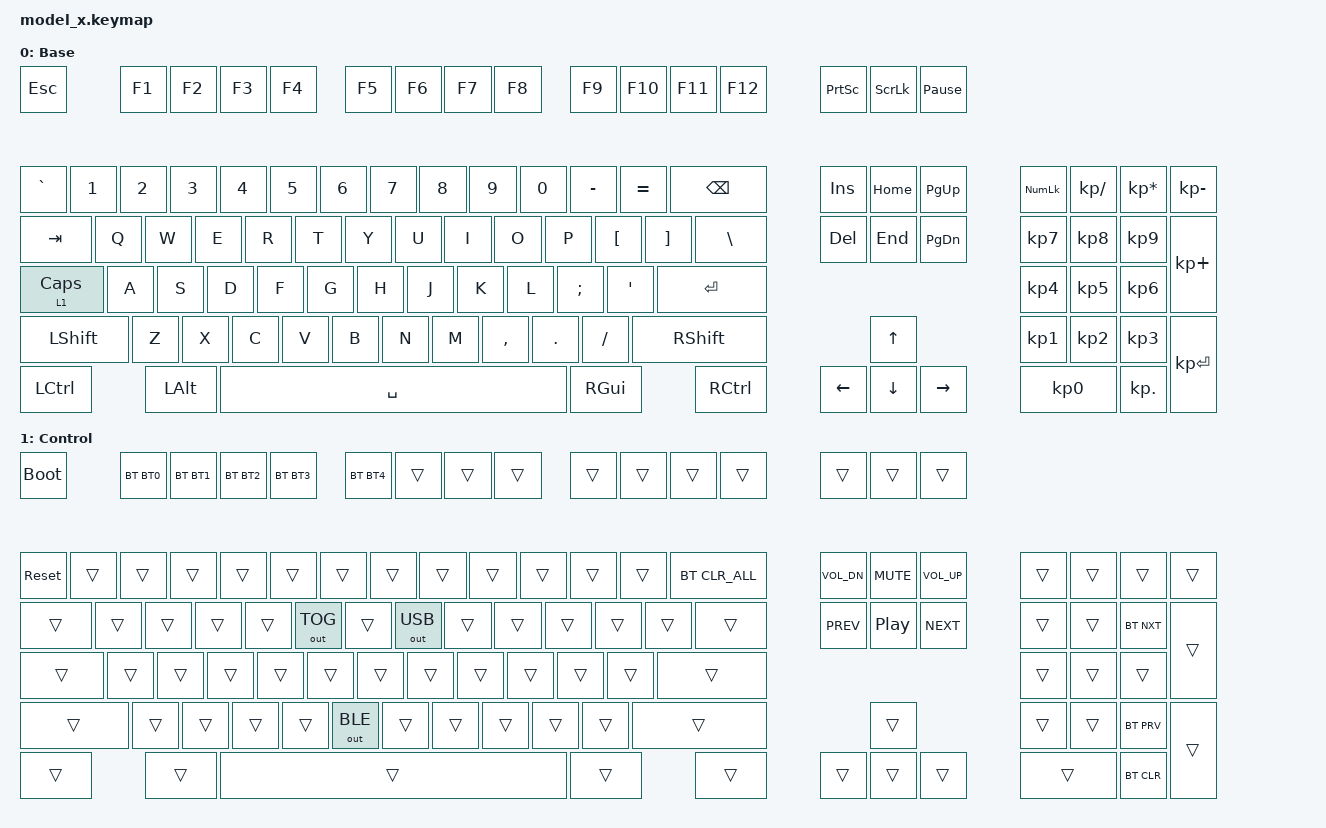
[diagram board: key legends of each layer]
/*
 * Copyright (c) 2020 The ZMK Contributors
 *
 * SPDX-License-Identifier: MIT
 */

#include <behaviors.dtsi>
#include <dt-bindings/zmk/keys.h>
#include <dt-bindings/zmk/bt.h>
#include <dt-bindings/zmk/outputs.h>
#include <dt-bindings/zmk/ext_power.h>


#define BT0 BT_SEL 0
#define BT1 BT_SEL 1
#define BT2 BT_SEL 2
#define BT3 BT_SEL 3
#define BT4 BT_SEL 4

#define O_BLE OUT_BLE
#define O_USB OUT_USB
#define O_TOG OUT_TOG

#define VOL_DN C_VOL_DN
#define VOL_UP C_VOL_UP


/ {
    keymap {
        compatible = "zmk,keymap";

        default_layer {
            display-name = "Base";
            bindings = <
//╭──────────╮          ╭──────────┬──────────┬──────────┬──────────╮    ╭──────────┬──────────┬──────────┬──────────╮    ╭──────────┬──────────┬──────────┬──────────╮    ╭──────────┬──────────┬──────────╮
//│ ESC      │          │ F1       │ F2       │ F3       │ F4       |    │ F5       │ F6       │ F7       │ F8       |    │ F9       │ F10      │ F11      │ F12      │    │ Pr.Screen│ Scr.Lock │ Pause    |
    &kp ESC               &kp F1     &kp F2     &kp F3     &kp F4          &kp F5     &kp F6     &kp F7     &kp F8          &kp F9     &kp F10    &kp F11    &kp F12         &kp PSCRN  &kp SLCK   &kp PAUSE_BREAK
//╰──────────╯          ╰──────────┴──────────┴──────────┴──────────╯    ╰──────────┴──────────┴──────────┴──────────╯    ╰──────────┴──────────┴──────────┴──────────╯    ╰──────────┴──────────┴──────────╯
//
//╭──────────┬──────────┬──────────┬──────────┬──────────┬──────────┬──────────┬──────────┬──────────┬──────────┬──────────┬──────────┬──────────┬────────────────────╮    ╭──────────┬──────────┬──────────╮    ╭──────────┬──────────┬──────────┬──────────╮
//│ `        │ 1        │ 2        │ 3        │ 4        │ 5        │ 6        │ 7        │ 8        │ 9        │ 10       │ -        │ =        │ Backspace          │    │ Insert   │ Home     │ Page Up  │    │ Num Lock │ /        │ *        │ -        │
    &kp GRAVE  &kp N1     &kp N2     &kp N3     &kp N4     &kp N5     &kp N6     &kp N7     &kp N8     &kp N9     &kp N0     &kp MINUS  &kp EQUAL  &kp BSPC                  &kp INS    &kp HOME   &kp PG_UP      &kp KP_NUM &kp KP_SLASH &kp KP_MULTIPLY &kp KP_MINUS
//├──────────┴─────┬────┴─────┬────┴─────┬────┴─────┬────┴─────┬────┴─────┬────┴─────┬────┴─────┬────┴─────┬────┴─────┬────┴─────┬────┴─────┬────┴─────┬──────────────┤    ├──────────┼──────────┼──────────┤    ├──────────┼──────────┼──────────┼──────────┤
//| Tab            | Q        | W        | E        | R        | T        | Y        | U        | I        | O        | P        | [        | ]        | \            |    | Delete   | End      | Page Down|    | 7        | 8        | 9        | +        |
    &kp TAB          &kp Q      &kp W      &kp E      &kp R      &kp T      &kp Y      &kp U      &kp I      &kp O      &kp P      &kp LBKT   &kp RBKT   &kp BSLH            &kp DEL    &kp END    &kp PG_DN       &kp KP_N7  &kp KP_N8  &kp KP_N9  &kp KP_PLUS
//├─────────────┬──┴───┬──────┴───┬──────┴───┬──────┴───┬──────┴───┬──────┴───┬──────┴───┬──────┴───┬──────┴───┬──────┴───┬──────┴───┬──────┴───┬──────┴──────────────┤    ╰──────────┴──────────┴──────────╯    ├──────────┼──────────┼──────────┤          |
//| Caps Lock   |      | A        | S        | D        | F        | G        | H        | J        | K        | L        | ;        | '        | Enter               |                                          | 4        | 5        | 6        |          |
    &lt 1 CLCK           &kp A      &kp S      &kp D      &kp F      &kp G      &kp H      &kp J      &kp K      &kp L      &kp SEMI   &kp SQT    &kp ENTER                                                        &kp KP_N4  &kp KP_N5  &kp KP_N6
//├─────────────┴──────┴─────┬────┴─────┬────┴─────┬────┴─────┬────┴─────┬────┴─────┬────┴─────┬────┴─────┬────┴─────┬────┴─────┬────┴─────┬────┴─────────────────────┤               ╭──────────╮               ├──────────┼──────────┼──────────┼──────────┤
//| Shift                    | Z        | X        | C        | V        | B        | N        | M        | ,        | .        | /        | Shift                    |               | Up       |               | 1        | 2        | 3        | Enter    |
    &kp LSHFT                  &kp Z      &kp X      &kp C      &kp V      &kp B      &kp N      &kp M      &kp COMMA  &kp DOT    &kp FSLH   &kp RSHFT                                  &kp UP                     &kp KP_N1  &kp KP_N2  &kp KP_N3  &kp KP_ENTER
//├──────────────┬───────────┴──┬──────────────┬───┴──────────┴──────────┴──────────┴──────────┴──────────┴──────────┴───┬──────┴───────┬──┴───────────┬──────────────┤    ╭──────────┼──────────┼──────────╮    ├─────────────────────┼──────────┤          |
//| Ctrl         |              | Alt          | Space                                                                   | Alt          |              | Ctrl         |    | Left     | Down     | Right    |    | 0                   | .        |          |
    &kp LCTRL                     &kp LALT       &kp SPACE                                                                 &kp RGUI                      &kp RCTRL           &kp LEFT   &kp DOWN   &kp RIGHT       &kp KP_N0             &kp KP_DOT
//╰──────────────╯              ╰──────────────┴─────────────────────────────────────────────────────────────────────────┴──────────────╯              ╰──────────────╯    ╰──────────┴──────────┴──────────╯    ╰─────────────────────┴──────────┴──────────╯
//╭──────────────╮
//│ DFU BUTTON   │
//    &sys_reset
//╰──────────────╯
            >;
        };

        control_layer {
            display-name = "Control";
            bindings = <
//╭──────────╮          ╭──────────┬──────────┬──────────┬──────────╮    ╭──────────┬──────────┬──────────┬──────────╮    ╭──────────┬──────────┬──────────┬──────────╮    ╭──────────┬──────────┬──────────╮
//│ ESC      │          │ F1       │ F2       │ F3       │ F4       |    │ F5       │ F6       │ F7       │ F8       |    │ F9       │ F10      │ F11      │ F12      │    │ Pr.Screen│ Scr.Lock │ Pause    |
    &bootloader           &bt BT0    &bt BT1    &bt BT2    &bt BT3         &bt BT4    &trans     &trans     &trans          &trans     &trans     &trans     &trans          &trans     &trans     &trans
//╰──────────╯          ╰──────────┴──────────┴──────────┴──────────╯    ╰──────────┴──────────┴──────────┴──────────╯    ╰──────────┴──────────┴──────────┴──────────╯    ╰──────────┴──────────┴──────────╯
//
//╭──────────┬──────────┬──────────┬──────────┬──────────┬──────────┬──────────┬──────────┬──────────┬──────────┬──────────┬──────────┬──────────┬────────────────────╮    ╭──────────┬──────────┬──────────╮    ╭──────────┬──────────┬──────────┬──────────╮
//│ `        │ 1        │ 2        │ 3        │ 4        │ 5        │ 6        │ 7        │ 8        │ 9        │ 10       │ -        │ =        │ Backspace          │    │ Insert   │ Home     │ Page Up  │    │ Num Lock │ /        │ *        │ -        │
    &sys_reset &trans     &trans     &trans     &trans     &trans     &trans     &trans     &trans     &trans     &trans     &trans     &trans     &bt BT_CLR_ALL            &kp VOL_DN &kp C_MUTE &kp VOL_UP      &trans     &trans     &trans     &trans
//├──────────┴─────┬────┴─────┬────┴─────┬────┴─────┬────┴─────┬────┴─────┬────┴─────┬────┴─────┬────┴─────┬────┴─────┬────┴─────┬────┴─────┬────┴─────┬──────────────┤    ├──────────┼──────────┼──────────┤    ├──────────┼──────────┼──────────┼──────────┤
//| Tab            | Q        | W        | E        | R        | T        | Y        | U        | I        | O        | P        | [        | ]        | \            |    | Delete   | End      | Page Down|    | 7        | 8        | 9        | +        |
    &trans           &trans     &trans     &trans     &trans     &out O_TOG &trans     &out O_USB &trans     &trans     &trans     &trans     &trans     &trans              &kp C_PREV &kp C_PP   &kp C_NEXT      &trans     &trans     &bt BT_NXT &trans
//├─────────────┬──┴───┬──────┴───┬──────┴───┬──────┴───┬──────┴───┬──────┴───┬──────┴───┬──────┴───┬──────┴───┬──────┴───┬──────┴───┬──────┴───┬──────┴──────────────┤    ╰──────────┴──────────┴──────────╯    ├──────────┼──────────┼──────────┤          |
//| Caps Lock   |      | A        | S        | D        | F        | G        | H        | J        | K        | L        | ;        | '        | Enter               |                                          | 4        | 5        | 6        |          |
    &trans               &trans     &trans     &trans     &trans     &trans     &trans     &trans     &trans     &trans     &trans     &trans     &trans                                                           &trans     &trans     &trans
//├─────────────┴──────┴─────┬────┴─────┬────┴─────┬────┴─────┬────┴─────┬────┴─────┬────┴─────┬────┴─────┬────┴─────┬────┴─────┬────┴─────┬────┴─────────────────────┤               ╭──────────╮               ├──────────┼──────────┼──────────┼──────────┤
//| Shift                    | Z        | X        | C        | V        | B        | N        | M        | ,        | .        | /        | Shift                    |               | Up       |               | 1        | 2        | 3        | Enter    |
    &trans                     &trans     &trans     &trans     &trans     &out O_BLE &trans     &trans     &trans     &trans     &trans     &trans                                     &trans                     &trans     &trans     &bt BT_PRV &trans
//├──────────────┬───────────┴──┬──────────────┬───┴──────────┴──────────┴──────────┴──────────┴──────────┴──────────┴───┬──────┴───────┬──┴───────────┬──────────────┤    ╭──────────┼──────────┼──────────╮    ├─────────────────────┼──────────┤          |
//| Ctrl         |              | Alt          | Space                                                                   | Alt          |              | Ctrl         |    | Left     | Down     | Right    |    | 0                   | .        |          |
    &trans                        &trans         &trans                                                                    &trans                        &trans              &trans     &trans     &trans          &trans                &bt BT_CLR
//╰──────────────╯              ╰──────────────┴─────────────────────────────────────────────────────────────────────────┴──────────────╯              ╰──────────────╯    ╰──────────┴──────────┴──────────╯    ╰─────────────────────┴──────────┴──────────╯
//╭──────────────╮
//│ DFU BUTTON   │
//    &trans
//╰──────────────╯
            >;
        };
 
        extra1 {
            status = "reserved";
        };

        extra2 {
            status = "reserved";
        };
    };
};
